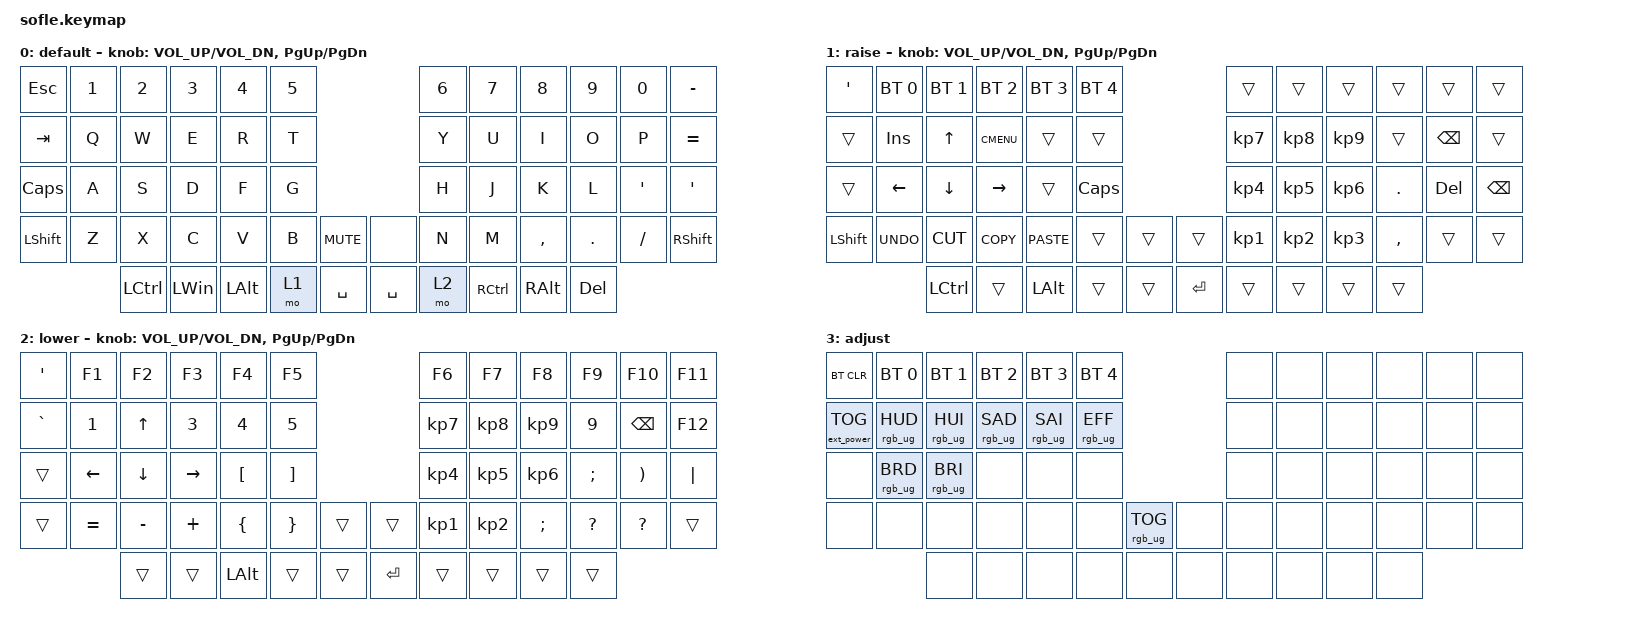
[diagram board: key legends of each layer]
/*
 * Copyright (c) 2020 The ZMK Contributors
 *
 * SPDX-License-Identifier: MIT
 */

#include <behaviors.dtsi>
#include <dt-bindings/zmk/bt.h>
#include <dt-bindings/zmk/ext_power.h>
#include <dt-bindings/zmk/keys.h>
#include <dt-bindings/zmk/rgb.h>

#define BASE 0
#define LOWER 1
#define RAISE 2
#define ADJUST 3

/ {
    // Activate ADJUST layer by pressing raise and lower

    conditional_layers {
        compatible = "zmk,conditional-layers";

        adjust_layer {
            if-layers = <3 1>;
            then-layer = <4>;
        };
    };

    keymap {
        compatible = "zmk,keymap";

        default_layer {
            display-name = "default";

            // ------------------------------------------------------------------------------------------------------------
            // |   `   |  1  |  2  |  3   |  4   |  5   |                   |  6   |  7    |  8    |  9   |   0   |       |
            // |  ESC  |  Q  |  W  |  E   |  R   |  T   |                   |  Y   |  U    |  I    |  O   |   P   | BKSPC |
            // |  TAB  |  A  |  S  |  D   |  F   |  G   |                   |  H   |  J    |  K    |  L   |   ;   |   '   |
            // | SHIFT |  Z  |  X  |  C   |  V   |  B   |  MUTE  |  |       |  N   |  M    |  ,    |  .   |   /   | SHIFT |
            //               | GUI | ALT  | CTRL | LOWER|  ENTER |  | SPACE | RAISE| CTRL  | ALT   | GUI  |

            bindings = <
&kp ESC       &kp N1  &kp N2     &kp N3        &kp N4        &kp N5                           &kp N6  &kp N7     &kp N8         &kp N9      &kp N0            &kp MINUS
&kp TAB       &kp Q   &kp W      &kp E         &kp R         &kp T                            &kp Y   &kp U      &kp I          &kp O       &kp P             &kp EQUAL
&kp CAPSLOCK  &kp A   &kp S      &kp D         &kp F         &kp G                            &kp H   &kp J      &kp K          &kp L       &kp SINGLE_QUOTE  &kp SQT
&kp LSHFT     &kp Z   &kp X      &kp C         &kp V         &kp B   &kp C_MUTE    &none      &kp N   &kp M      &kp COMMA      &kp DOT     &kp FSLH          &kp RSHFT
                      &kp LCTRL  &kp LEFT_WIN  &kp LEFT_ALT  &mo 1   &kp SPACE     &kp SPACE  &mo 2   &kp RCTRL  &kp RIGHT_ALT  &kp DELETE
            >;

            sensor-bindings = <&inc_dec_kp C_VOL_UP C_VOL_DN &inc_dec_kp PG_UP PG_DN>;
        };

        raise_layer {
            display-name = "raise";

            // ------------------------------------------------------------------------------------------------------------
            // | BTCLR | BT1  | BT2  |  BT3  |  BT4  |  BT5 |                |      |      |       |      |       |       |
            // |       | INS  | PSCR | GUI   |       |      |                | PGUP |      |   ^   |      |       |       |
            // |       | ALT  | CTRL | SHIFT |       | CAPS |                | PGDN |   <- |   v   |  ->  |  DEL  | BKSPC |
            // |       | UNDO | CUT  | COPY  | PASTE |      |      |  |      |      |      |       |      |       |       |
            //                |      |       |       |      |      |  |      |      |      |       |      |

            bindings = <
&kp SQT         &bt BT_SEL 0    &bt BT_SEL 1    &bt BT_SEL 2  &bt BT_SEL 3  &bt BT_SEL 4                       &trans           &trans           &trans           &trans     &trans         &trans
&trans          &kp INS         &kp UP_ARROW    &kp K_CMENU   &trans        &trans                             &kp KP_NUMBER_7  &kp KP_NUMBER_8  &kp KP_NUMBER_9  &trans     &kp BACKSPACE  &trans
&trans          &kp LEFT_ARROW  &kp DOWN_ARROW  &kp RIGHT     &trans        &kp CLCK                           &kp KP_NUMBER_4  &kp KP_NUMBER_5  &kp KP_NUMBER_6  &kp DOT    &kp DEL        &kp BSPC
&kp LEFT_SHIFT  &kp K_UNDO      &kp K_CUT       &kp K_COPY    &kp K_PASTE   &trans        &trans    &trans     &kp KP_NUMBER_1  &kp KP_NUMBER_2  &kp KP_N3        &kp COMMA  &trans         &trans
                                &kp LCTRL       &trans        &kp LEFT_ALT  &trans        &trans    &kp ENTER  &trans           &trans           &trans           &trans
            >;

            sensor-bindings = <&inc_dec_kp C_VOL_UP C_VOL_DN &inc_dec_kp PG_UP PG_DN>;
        };

        lower_layer {
            display-name = "lower";

            // TODO: Some binds are waiting for shifted keycode support.
            // ------------------------------------------------------------------------------------------------------------
            // |       |  F1 |  F2 |  F3  |  F4  |  F5  |                   |  F6  |  F7   |  F8   |  F9  |  F10  |  F11  |
            // |   `   |  1  |  2  |  3   |  4   |  5   |                   |  6   |  7    |  8    |  9   |   0   |  F12  |
            // |       |  !  |  @  |  #   |  $   |  %   |                   |  ^   |  &    |  *    |  (   |   )   |   |   |
            // |       |  =  |  -  |  +   |  {   |  }   |        |  |       |  [   |  ]    |  ;    |  :   |   \   |       |
            //               |     |      |      |      |        |  |       |      |       |       |      |

            bindings = <
&kp SINGLE_QUOTE  &kp F1     &kp F2          &kp F3           &kp F4            &kp F5                                  &kp F6           &kp F7           &kp F8           &kp F9         &kp F10        &kp F11
&kp GRAVE         &kp N1     &kp UP_ARROW    &kp N3           &kp N4            &kp N5                                  &kp KP_NUMBER_7  &kp KP_N8        &kp KP_NUMBER_9  &kp N9         &kp BACKSPACE  &kp F12
&trans            &kp LEFT   &kp DOWN_ARROW  &kp RIGHT_ARROW  &kp LEFT_BRACKET  &kp RIGHT_BRACKET                       &kp KP_NUMBER_4  &kp KP_NUMBER_5  &kp KP_NUMBER_6  &kp SEMICOLON  &kp RPAR       &kp PIPE
&trans            &kp EQUAL  &kp MINUS       &kp PLUS         &kp LBRC          &kp RBRC           &trans    &trans     &kp KP_NUMBER_1  &kp KP_NUMBER_2  &kp SEMI         &kp QUESTION   &kp QUESTION   &trans
                             &trans          &trans           &kp LEFT_ALT      &trans             &trans    &kp ENTER  &trans           &trans           &trans           &trans
            >;

            sensor-bindings = <&inc_dec_kp C_VOL_UP C_VOL_DN &inc_dec_kp PG_UP PG_DN>;
        };

        adjust_layer {
            // ----------------------------------------------------------------------------------------------------------------------------
            // | BTCLR  |  BT1    |  BT2    |   BT3   |   BT4   |   BT5   |                  |      |      |       |      |       |       |
            // | EXTPWR | RGB_HUD | RGB_HUI | RGB_SAD | RGB_SAI | RGB_EFF |                  |      |      |       |      |       |       |
            // |        | RGB_BRD | RGB_BRI |         |         |         |                  |      |      |       |      |       |       |
            // |        |         |         |         |         |         | RGB_TOG | |      |      |      |       |      |       |       |
            //                    |         |         |         |         |         | |      |      |      |       |      |

            display-name = "adjust";
            bindings = <
&bt BT_CLR         &bt BT_SEL 0     &bt BT_SEL 1     &bt BT_SEL 2     &bt BT_SEL 3     &bt BT_SEL 4                               &none  &none  &none  &none  &none  &none
&ext_power EP_TOG  &rgb_ug RGB_HUD  &rgb_ug RGB_HUI  &rgb_ug RGB_SAD  &rgb_ug RGB_SAI  &rgb_ug RGB_EFF                            &none  &none  &none  &none  &none  &none
&none              &rgb_ug RGB_BRD  &rgb_ug RGB_BRI  &none            &none            &none                                      &none  &none  &none  &none  &none  &none
&none              &none            &none            &none            &none            &none            &rgb_ug RGB_TOG    &none  &none  &none  &none  &none  &none  &none
                                    &none            &none            &none            &none            &none              &none  &none  &none  &none  &none
            >;
        };
    };
};
